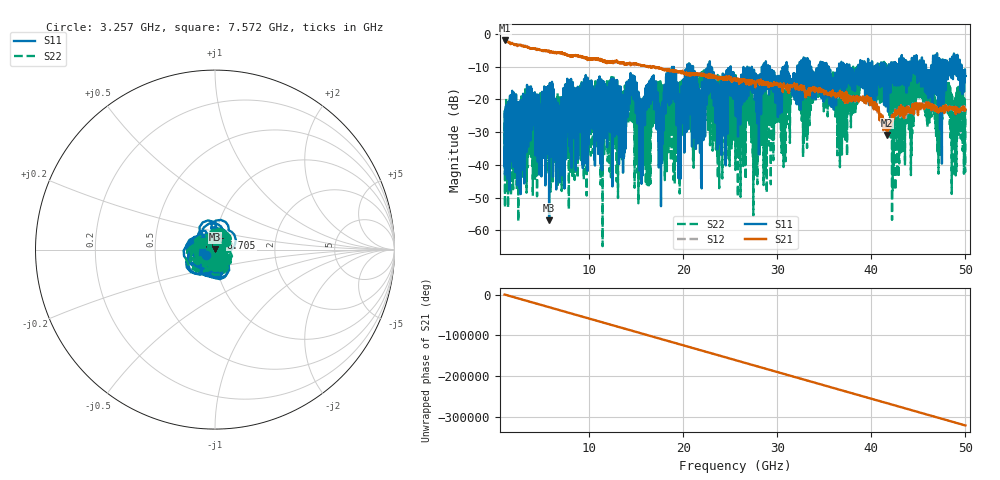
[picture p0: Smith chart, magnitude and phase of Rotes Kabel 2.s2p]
!Agilent Technologies,E8364B,US41440127,A.06.04.32
!Agilent E8364B: A.06.04.32
!Date: Tuesday, August 11, 2020 14:31:50
!Correction: S11(Off) S21(Off) S12(Off) S22(Off)
!S2P File: Measurements: S11, S21, S12, S22:
# Hz S  dB  R 50
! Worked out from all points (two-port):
!   16001 points, 1 GHz to 50 GHz, reference 50 ohm
!   highest |S21| = -1.99 dB at 1 GHz (marker M1); lowest = -30.9 dB at 41.69 GHz (marker M2)
!   |S21| within 3 dB of the highest: start of sweep to 4.867 GHz; 5.01 GHz to 5.095 GHz (85.35 MHz wide, 1.69 % of centre) (the widest 2 of 6)
!   lowest |S11| = -56.9 dB at 5.735 GHz (marker M3), VSWR 1.00, Z = 50.1 + j0.131 ohm
!   |S11| at or under -10 dB: start of sweep to 20.41 GHz; 22.83 GHz to 25.03 GHz (2.201 GHz wide, 9.2 % of centre); 25.04 GHz to 26.81 GHz (1.77 GHz wide, 6.83 % of centre) (the widest 3 of 111)
!   |S22| runs from -64.8 to -8.5 dB; largest |S21 - S12| = 1.1
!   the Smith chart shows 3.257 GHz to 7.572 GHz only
!   S11 on the Smith chart (normalised r, x): 3.257 GHz: 0.91, -0.05; 6.705 GHz: 1.06, +0.14; 7.572 GHz: 0.87, -0.02
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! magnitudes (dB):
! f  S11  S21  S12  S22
! 1 GHz  -35.7  -2.0  -2.3  -28.4
! 3.257 GHz  -24.9  -3.9  -3.7  -22.3
! 5.735 GHz  -56.9  -5.1  -5.4  -26.7
! 6.705 GHz  -22.5  -5.8  -5.8  -20.5
! 7.572 GHz  -22.9  -6.3  -6.3  -18.9
! 9.168 GHz  -26.1  -6.9  -7.0  -26.7
! 13.65 GHz  -34.7  -8.6  -8.9  -18.7
! 14.62 GHz  -13.1  -9.2  -9.2  -20.0
! 15.54 GHz  -24.7  -9.6  -9.7  -23.6
! 16.21 GHz  -17.1  -9.8  -9.8  -27.0
! 17.34 GHz  -23.7  -10.3  -10.6  -15.4
! 18.81 GHz  -10.1  -11.5  -11.4  -18.4
! 19.72 GHz  -24.7  -11.6  -11.8  -17.5
! 20.62 GHz  -9.3  -12.4  -12.1  -23.5
! 21.74 GHz  -18.3  -12.5  -12.3  -13.4
! 22.82 GHz  -8.3  -13.4  -13.5  -13.7
! 25.5 GHz  -13.5  -13.9  -14.3  -12.9
! 27.64 GHz  -16.8  -16.2  -16.0  -36.9
! 33.67 GHz  -14.5  -17.3  -16.8  -17.5
! 41.69 GHz  -10.3  -30.9  -30.7  -10.1
! 41.84 GHz  -16.3  -27.8  -27.8  -10.9
! 50 GHz  -12.8  -23.0  -22.9  -23.5
